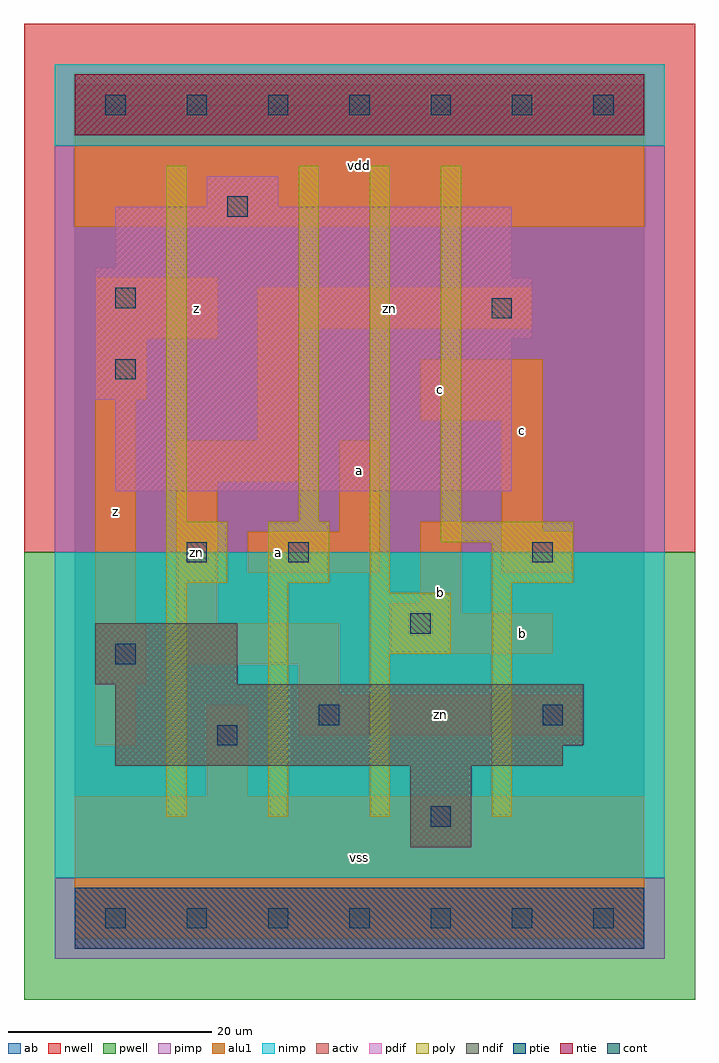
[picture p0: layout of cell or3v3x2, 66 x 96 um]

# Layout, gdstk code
import gdstk
lib = gdstk.Library(unit=1e-6, precision=1e-09)
def R(c, l, rs):  # rectangles x0, y0, x1, y1
    for r in rs: c.add(gdstk.rectangle(r[:2], r[2:], *l))
def A(c, l, x, y, w, h, nx, ny, dx, dy):  # array of equal rectangles
    R(c, l, [(x+i*dx, y+j*dy, x+i*dx+w, y+j*dy+h) for i in range(nx) for j in range(ny)])
ndif = (3, 0)
pdif = (4, 0)
ntie = (5, 0)
ptie = (6, 0)
cont = (25, 0)
pwell = (41, 0)
nwell = (42, 0)
activ = (43, 0)
pimp = (44, 0)
nimp = (45, 0)
poly = (46, 0)
alu1 = (49, 0)
ab = (63, 0)

or3v3x2 = lib.new_cell('or3v3x2')
R(or3v3x2, ndif, [(33,7,39,15), (4,15,48,17), (4,17,50,23), (2,23,16,29)])
R(or3v3x2, pdif, [(4,42,43,51), (2,51,43,57), (2,57,45,63), (2,63,43,64), (4,64,43,70), (13,70,20,73)])
R(or3v3x2, ntie, [(0,77,56,83)])
R(or3v3x2, ptie, [(0,-3,56,3)])
A(or3v3x2, cont, 3, -1, 2, 2, 7, 2, 8, 80)
R(or3v3x2, cont, [(35,9,37,11), (14,17,16,19), (24,19,26,21), (46,19,48,21), (4,25,6,27), (33,28,35,30), (11,35,13,37), (21,35,23,37), (45,35,47,37), (4,53,6,55), (41,59,43,61), (4,60,6,62), (15,69,17,71)])
R(or3v3x2, pwell, [(-5,-8,61,36)])
R(or3v3x2, nwell, [(-5,36,61,88)])
R(or3v3x2, activ, [(0,-3,56,3), (33,7,39,15), (4,15,48,17), (4,17,50,23), (2,23,16,29), (4,42,43,51), (2,51,43,57), (2,57,45,63), (2,63,43,64), (4,64,43,70), (13,70,20,73), (0,77,56,83)])
R(or3v3x2, pimp, [(-2,-4,58,4), (-2,36,58,76)])
R(or3v3x2, nimp, [(-2,4,58,36), (-2,76,58,84)])
R(or3v3x2, poly, [(9,10,11,33), (19,10,21,33), (29,10,31,26), (41,10,43,33), (29,26,37,32), (29,32,31,74), (9,33,15,39), (19,33,25,39), (41,33,49,37), (36,37,49,39), (9,39,11,74), (22,39,24,74), (36,39,38,74)])
R(or3v3x2, alu1, [(0,-2,56,12), (13,12,17,21), (2,17,6,23), (22,18,50,22), (22,22,26,25), (2,23,7,29), (10,25,26,29), (31,26,47,30), (2,29,6,51), (10,29,14,43), (31,30,38,31), (34,31,38,39), (17,34,30,38), (42,34,49,38), (26,38,30,47), (42,38,46,49), (10,43,22,47), (18,47,22,58), (34,49,46,55), (2,51,7,57), (2,57,14,63), (18,58,45,62), (0,68,56,82)])
R(or3v3x2, ab, [(0,0,56,80)])
or3v3x2.add(gdstk.Label('zn', (12,36), layer=49, texttype=0))
or3v3x2.add(gdstk.Label('zn', (36,20), layer=49, texttype=0))
or3v3x2.add(gdstk.Label('zn', (31,60), layer=49, texttype=0))
or3v3x2.add(gdstk.Label('z', (4,40), layer=49, texttype=0))
or3v3x2.add(gdstk.Label('a', (20,36), layer=49, texttype=0))
or3v3x2.add(gdstk.Label('z', (12,60), layer=49, texttype=0))
or3v3x2.add(gdstk.Label('vss', (28,6), layer=49, texttype=0))
or3v3x2.add(gdstk.Label('b', (36,32), layer=49, texttype=0))
or3v3x2.add(gdstk.Label('a', (28,44), layer=49, texttype=0))
or3v3x2.add(gdstk.Label('c', (36,52), layer=49, texttype=0))
or3v3x2.add(gdstk.Label('vdd', (28,74), layer=49, texttype=0))
or3v3x2.add(gdstk.Label('b', (44,28), layer=49, texttype=0))
or3v3x2.add(gdstk.Label('c', (44,48), layer=49, texttype=0))

lib.write_gds('or3v3x2.gds')
